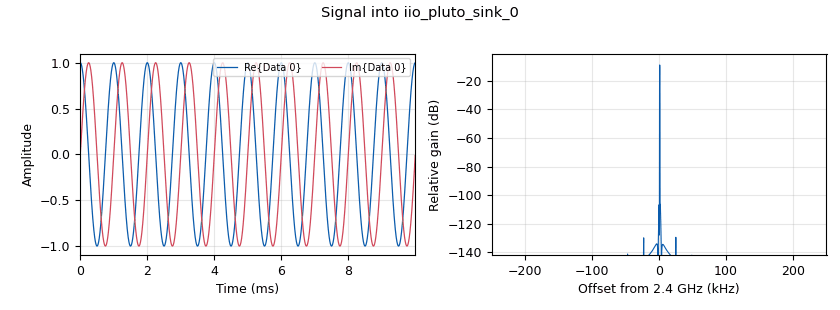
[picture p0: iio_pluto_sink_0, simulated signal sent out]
options:
  parameters:
    generate_options: qt_gui
    id: Tx_Rx_test
    output_language: python
    title: Tx_Rx_test
  states: {}

blocks:
- name: samp_rate
  id: variable
  parameters:
    value: '500000'
  states: {}
- name: analog_sig_source_x_0
  id: analog_sig_source_x
  parameters:
    amp: '1'
    freq: '1000'
    offset: '0'
    phase: '0'
    samp_rate: samp_rate
    type: complex
    waveform: analog.GR_COS_WAVE
  states: {}
- name: iio_pluto_sink_0
  id: iio_pluto_sink
  parameters:
    attenuation1: '10.0'
    bandwidth: '20000000'
    buffer_size: '32768'
    cyclic: 'False'
    filter_source: '''Auto'''
    frequency: '2400000000'
    samplerate: samp_rate
    type: fc32
    uri: 192.168.2.1
  states: {}
- name: iio_pluto_source_0
  id: iio_pluto_source
  parameters:
    bandwidth: '20000000'
    bbdc: 'True'
    buffer_size: '32768'
    filter_source: '''Auto'''
    frequency: '2400000000'
    gain1: '''slow_attack'''
    quadrature: 'True'
    rfdc: 'True'
    samplerate: samp_rate
    type: fc32
    uri: 192.168.2.1
  states: {}
- name: qtgui_sink_x_0
  id: qtgui_sink_x
  parameters:
    bw: samp_rate
    fc: '0'
    fftsize: '1024'
    type: complex
    wintype: window.WIN_HAMMING
  states: {}

connections:
- [analog_sig_source_x_0, '0', iio_pluto_sink_0, '0']
- [iio_pluto_source_0, '0', qtgui_sink_x_0, '0']

metadata:
  file_format: 1
  grc_version: v3.11.0.0git-843-g6b25c171
